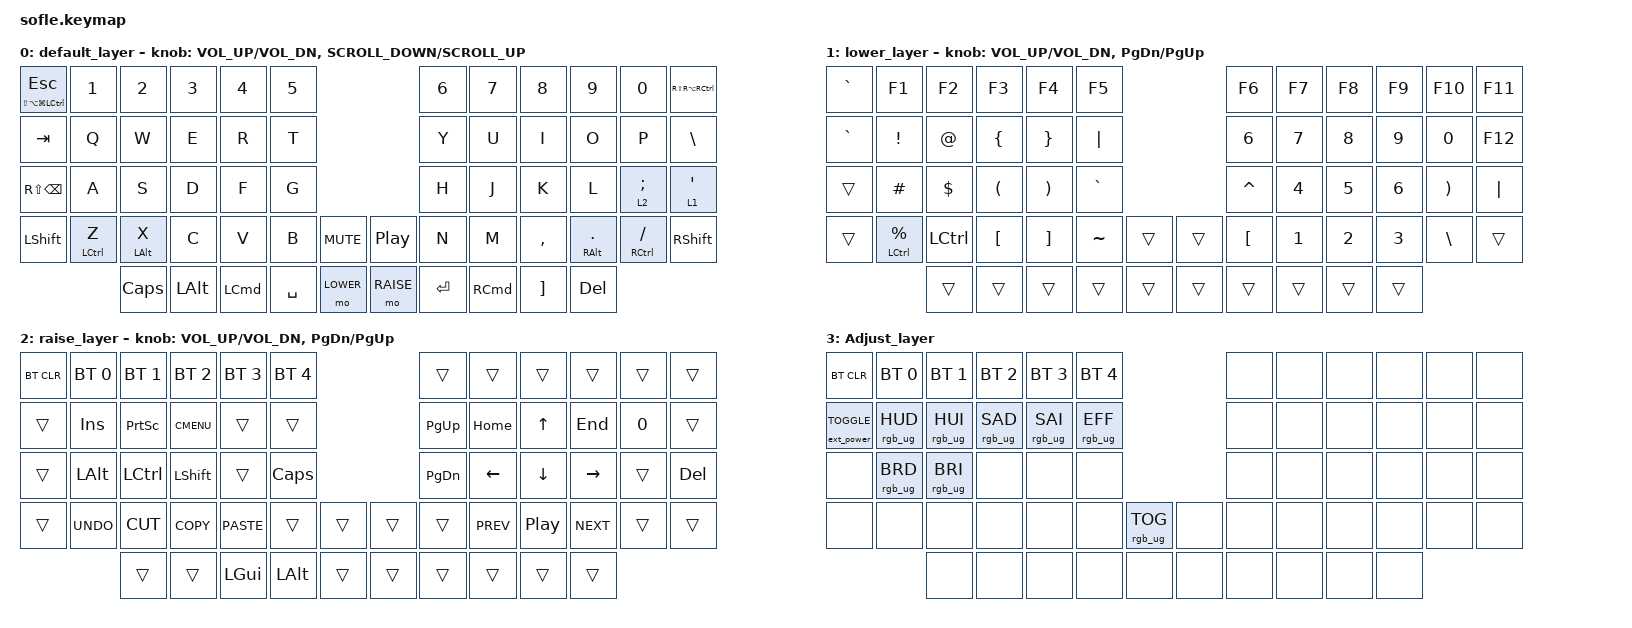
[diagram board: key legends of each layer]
/*
 * Copyright (c) 2020 The ZMK Contributors
 *
 * SPDX-License-Identifier: MIT
 */

#include <behaviors.dtsi>
#include <dt-bindings/zmk/bt.h>
#include <dt-bindings/zmk/ext_power.h>
#include <dt-bindings/zmk/keys.h>
#include <dt-bindings/zmk/rgb.h>

#define BASE 0
#define LOWER 1
#define RAISE 2
#define ADJUST 3

/ {
    // Activate ADJUST layer by pressing raise and lower

    conditional_layers {
        compatible = "zmk,conditional-layers";

        adjust_layer {
            if-layers = <LOWER RAISE>;
            then-layer = <ADJUST>;
        };
    };

    combos {
        compatible = "zmk,combos";

        search {
            bindings = <&kp C_AC_SEARCH>;
            key-positions = <26 27>;
        };

        equal {
            bindings = <&kp EQUAL>;
            key-positions = <32 33>;
        };

        underscore {
            bindings = <&kp MINUS>;
            key-positions = <46 47>;
        };

        capslock {
            bindings = <&kp CAPSLOCK>;
            key-positions = <39 40>;
        };

        esc {
            bindings = <&kp ESCAPE>;
            key-positions = <31 32>;
        };
    };

    behaviors {
        key_or_layer: key_or_layer {
            compatible = "zmk,behavior-hold-tap";
            label = "KEY_OR_LAYER";
            bindings = <&mo>, <&kp>;

            #binding-cells = <2>;
            tapping-term-ms = <125>;
            hold-trigger-key-positions = <34 35 37 38 47 48>;
        };

        key_or_mod: key_or_mod {
            compatible = "zmk,behavior-hold-tap";
            label = "KEY_OR_MOD";
            bindings = <&kp>, <&kp>;

            #binding-cells = <2>;
            tapping-term-ms = <125>;
            hold-trigger-key-positions = <37 38 47 48>;
            flavor = "tap-preferred";
        };
    };

    keymap {
        compatible = "zmk,keymap";

        default_layer {
            // ------------------------------------------------------------------------------------------------------------
            // |  ESC  |  1  |  2  |  3   |  4   |  5   |                   |  6   |  7    |  8    |  9   |   0   |   -   |
            // |  TAB  |  Q  |  W  |  E   |  R   |  T   |                   |  Y   |  U    |  I    |  O   |   P   | BKSPC |
            // | SHIFT |  A  |  S  |  D   |  F   |  G   |                   |  H   |  J    |  K    |  L   |   ;   |   '   |
            // | LCTRL |  Z  |  X  |  C   |  V   |  B   |  MUTE  |  |       |  N   |  M    |  ,    |  .   |   /   | SHIFT |
            //               | GUI | CLCK | ALT  | ENTER|  LOWER |  | RAISE | SPACE | CTRL | ALT   | GUI  |

            bindings = <
&key_or_mod LS(LA(LG(LCTRL))) ESC  &kp N1               &kp N2                  &kp N3        &kp N4    &kp N5                              &kp N6   &kp N7    &kp N8     &kp N9                        &kp N0                     &kp RS(RA(RCTRL))
&kp TAB                            &kp Q                &kp W                   &kp E         &kp R     &kp T                               &kp Y    &kp U     &kp I      &kp O                         &kp P                      &kp BACKSLASH
&kp RS(BACKSPACE)                  &kp A                &kp S                   &kp D         &kp F     &kp G                               &kp H    &kp J     &kp K      &kp L                         &key_or_layer 2 SEMICOLON  &key_or_layer 1 SQT
&kp LEFT_SHIFT                     &key_or_mod LCTRL Z  &key_or_mod LEFT_ALT X  &kp C         &kp V     &kp B      &kp C_MUTE    &kp C_PP   &kp N    &kp M     &kp COMMA  &key_or_mod RIGHT_ALT PERIOD  &key_or_mod RCTRL SLASH    &kp RIGHT_SHIFT
                                                        &kp CAPS                &kp LEFT_ALT  &kp LCMD  &kp SPACE  &mo LOWER     &mo RAISE  &kp RET  &kp RCMD  &kp RBKT   &kp DELETE
            >;

            sensor-bindings =
                <&inc_dec_kp C_VOL_UP C_VOL_DN>,
                <&inc_dec_kp K_SCROLL_DOWN K_SCROLL_UP>;
        };

        lower_layer {
            // TODO: Some binds are waiting for shifted keycode support.
            // ------------------------------------------------------------------------------------------------------------
            // |       |  F1 |  F2 |  F3  |  F4  |  F5  |                   |  F6  |  F7   |  F8   |  F9  |  F10  |  F11  |
            // | `     |   1 |   2 |   3  |   4  |   5  |                   |   6  |   7   |   8   |   9  |    0  |  F12  |
            // |       |  !  |  @  |  #   |  $   |  %   |                   |  ^   |  &    |  *    |  (   |   )   |   |   |
            // |       |  =  |  -  |  +   |  {   |  }   |        |  |       |  [   |  ]    |  ;    |  :   |   \   |       |
            //               |     |      |      |      |        |  |       |      |       |       |      |

            bindings = <
&kp GRAVE  &kp F1                     &kp F2       &kp F3                &kp F4                 &kp F5                       &kp F6     &kp F7        &kp F8        &kp F9        &kp F10   &kp F11
&kp GRAVE  &kp EXCLAMATION            &kp AT_SIGN  &kp LEFT_BRACE        &kp RIGHT_BRACE        &kp PIPE                     &kp N6     &kp N7        &kp N8        &kp N9        &kp N0    &kp F12
&trans     &kp HASH                   &kp DOLLAR   &kp LEFT_PARENTHESIS  &kp RIGHT_PARENTHESIS  &kp GRAVE                    &kp CARET  &kp NUMBER_4  &kp N5        &kp NUMBER_6  &kp RPAR  &kp PIPE
&trans     &key_or_mod LCTRL PERCENT  &kp LCTRL    &kp LEFT_BRACKET      &kp RIGHT_BRACKET      &kp TILDE  &trans    &trans  &kp LBKT   &kp NUMBER_1  &kp NUMBER_2  &kp NUMBER_3  &kp BSLH  &trans
                                      &trans       &trans                &trans                 &trans     &trans    &trans  &trans     &trans        &trans        &trans
            >;

            sensor-bindings = <&inc_dec_kp C_VOL_UP C_VOL_DN &inc_dec_kp PG_DN PG_UP>;
        };

        raise_layer {
            // ------------------------------------------------------------------------------------------------------------
            // |BTCLR| BT1  | BT2  |  BT3  |  BT4  |  BT5 |                |      |      |       |      |       |       |
            // |     | INS  | PSCR | GUI   |       |      |                |PG_UP | HOME |  ↑    | END  |       |       |
            // |     | ALT  | CTRL | SHIFT |       | CAPS |                |PG_DN |  <   |   ↓   |  ->  |       |  DEL  |
            // |     | UNDO | CUT  | COPY  | PASTE |      |      |  |      |      | Prev | Play  | Next |       |       |
            //              |      |       |       |      |      |  |      |      |      |       |      |

            bindings = <
&bt BT_CLR  &bt BT_SEL 0  &bt BT_SEL 1  &bt BT_SEL 2  &bt BT_SEL 3  &bt BT_SEL 4                    &trans     &trans      &trans    &trans      &trans  &trans
&trans      &kp INS       &kp PSCRN     &kp K_CMENU   &trans        &trans                          &kp PG_UP  &kp HOME    &kp UP    &kp END     &kp N0  &trans
&trans      &kp LALT      &kp LCTRL     &kp LSHFT     &trans        &kp CLCK                        &kp PG_DN  &kp LEFT    &kp DOWN  &kp RIGHT   &trans  &kp DEL
&trans      &kp K_UNDO    &kp K_CUT     &kp K_COPY    &kp K_PASTE   &trans        &trans    &trans  &trans     &kp C_PREV  &kp C_PP  &kp C_NEXT  &trans  &trans
                          &trans        &trans        &kp LEFT_GUI  &kp LEFT_ALT  &trans    &trans  &trans     &trans      &trans    &trans
            >;

            sensor-bindings = <&inc_dec_kp C_VOL_UP C_VOL_DN &inc_dec_kp PG_DN PG_UP>;
        };

        // ------------------------------------------------------------------------------------------------------------
        // |BTCLR | BT1   | BT2   |  BT3  |  BT4  |  BT5  |                |      |      |       |      |       |       |
        // |EXTPWR|RGB_HUD|RGB_HUI|RGB_SAD|RGB_SAI|RGB_EFF|                |      |      |       |      |       |       |
        // |      |RGB_BRD|RGB_BRI|       |       |       |                |      |      |       |      |       |       |
        // |      |       |       |       |       |       |RGB_TOG| |      |      |      |       |      |       |       |
        //                |       |       |       |       |       | |      |      |      |       |      |

        Adjust_layer {
            bindings = <
&bt BT_CLR                       &bt BT_SEL 0     &bt BT_SEL 1     &bt BT_SEL 2     &bt BT_SEL 3     &bt BT_SEL 4                               &none  &none  &none  &none  &none  &none
&ext_power EXT_POWER_TOGGLE_CMD  &rgb_ug RGB_HUD  &rgb_ug RGB_HUI  &rgb_ug RGB_SAD  &rgb_ug RGB_SAI  &rgb_ug RGB_EFF                            &none  &none  &none  &none  &none  &none
&none                            &rgb_ug RGB_BRD  &rgb_ug RGB_BRI  &none            &none            &none                                      &none  &none  &none  &none  &none  &none
&none                            &none            &none            &none            &none            &none            &rgb_ug RGB_TOG    &none  &none  &none  &none  &none  &none  &none
                                                  &none            &none            &none            &none            &none              &none  &none  &none  &none  &none
            >;
        };
    };
};
